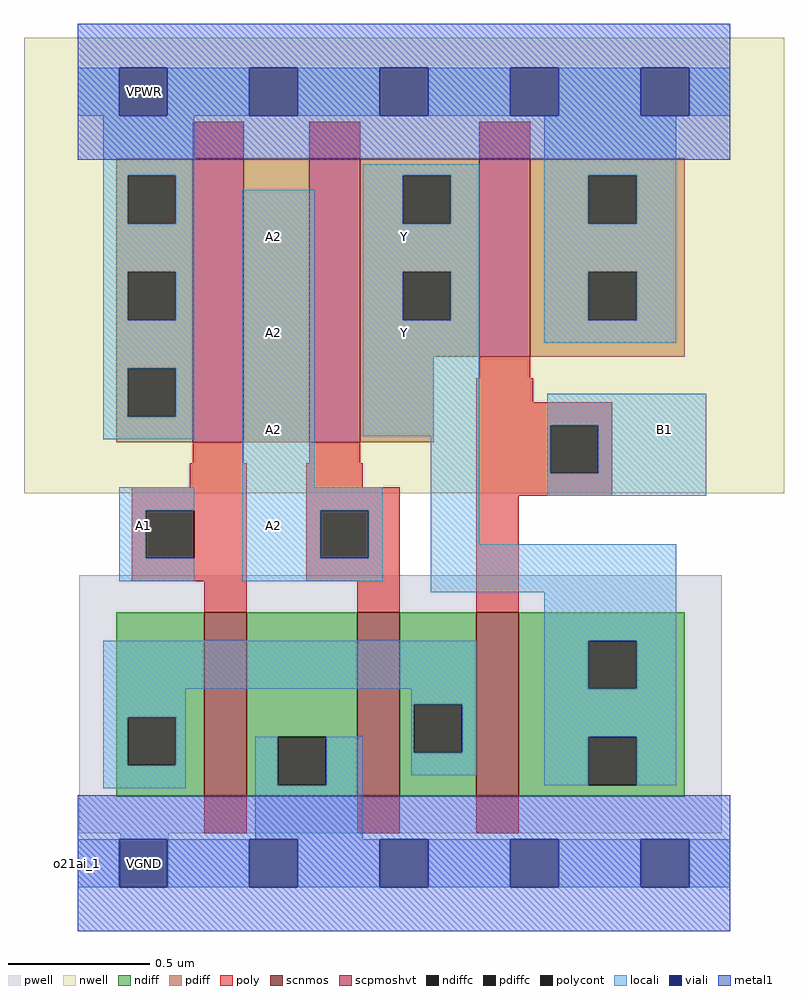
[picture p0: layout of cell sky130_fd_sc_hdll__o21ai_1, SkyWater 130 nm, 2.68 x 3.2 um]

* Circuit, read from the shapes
.subckt sky130_fd_sc_hdll__o21ai_1 A1 A2 B1 VGND VNB VPB VPWR Y
XM1 VGND A1 n1 VNB sky130_fd_pr__nfet_01v8 w=0.65 l=0.15
XM2 n1 A2 VGND VNB sky130_fd_pr__nfet_01v8 w=0.65 l=0.15
XM3 Y B1 n1 VNB sky130_fd_pr__nfet_01v8 w=0.65 l=0.15
XM4 n2 A1 VPWR VPB sky130_fd_pr__pfet_01v8_hvt w=1 l=0.18
XM5 Y A2 n2 VPB sky130_fd_pr__pfet_01v8_hvt w=1 l=0.18
XM6 VPWR B1 Y VPB sky130_fd_pr__pfet_01v8_hvt w=0.7 l=0.18
.ends

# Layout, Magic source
magic
tech sky130A
magscale 1 2
<< nwell >>
rect -38 261 498 582
<< pwell >>
rect 1 21 454 203
rect 30 -17 64 21
<< scnmos >>
rect 89 47 119 177
rect 197 47 227 177
rect 281 47 311 177
<< scpmoshvt >>
rect 81 297 117 497
rect 163 297 199 497
rect 283 357 319 497
<< ndiff >>
rect 27 103 89 177
rect 27 69 35 103
rect 69 69 89 103
rect 27 47 89 69
rect 119 89 197 177
rect 119 55 141 89
rect 175 55 197 89
rect 119 47 197 55
rect 227 112 281 177
rect 227 78 237 112
rect 271 78 281 112
rect 227 47 281 78
rect 311 157 428 177
rect 311 123 360 157
rect 394 123 428 157
rect 311 89 428 123
rect 311 55 360 89
rect 394 55 428 89
rect 311 47 428 55
<< pdiff >>
rect 27 485 81 497
rect 27 451 35 485
rect 69 451 81 485
rect 27 417 81 451
rect 27 383 35 417
rect 69 383 81 417
rect 27 349 81 383
rect 27 315 35 349
rect 69 315 81 349
rect 27 297 81 315
rect 117 297 163 497
rect 199 485 283 497
rect 199 451 229 485
rect 263 451 283 485
rect 199 417 283 451
rect 199 383 229 417
rect 263 383 283 417
rect 199 357 283 383
rect 319 485 428 497
rect 319 451 360 485
rect 394 451 428 485
rect 319 417 428 451
rect 319 383 360 417
rect 394 383 428 417
rect 319 357 428 383
rect 199 297 251 357
<< ndiffc >>
rect 35 69 69 103
rect 141 55 175 89
rect 237 78 271 112
rect 360 123 394 157
rect 360 55 394 89
<< pdiffc >>
rect 35 451 69 485
rect 35 383 69 417
rect 35 315 69 349
rect 229 451 263 485
rect 229 383 263 417
rect 360 451 394 485
rect 360 383 394 417
<< poly >>
rect 81 497 117 523
rect 163 497 199 523
rect 283 497 319 523
rect 283 342 319 357
rect 281 325 321 342
rect 281 309 377 325
rect 81 282 117 297
rect 163 282 199 297
rect 79 265 119 282
rect 38 249 119 265
rect 38 215 48 249
rect 82 215 119 249
rect 38 199 119 215
rect 161 265 201 282
rect 281 275 333 309
rect 367 275 377 309
rect 161 249 227 265
rect 161 215 171 249
rect 205 215 227 249
rect 161 199 227 215
rect 89 177 119 199
rect 197 177 227 199
rect 281 259 377 275
rect 281 177 311 259
rect 89 21 119 47
rect 197 21 227 47
rect 281 21 311 47
<< polycont >>
rect 48 215 82 249
rect 333 275 367 309
rect 171 215 205 249
<< locali >>
rect 0 527 29 561
rect 63 527 121 561
rect 155 527 213 561
rect 247 527 305 561
rect 339 527 397 561
rect 431 527 460 561
rect 18 485 82 527
rect 18 451 35 485
rect 69 451 82 485
rect 201 485 283 493
rect 18 417 82 451
rect 18 383 35 417
rect 69 383 82 417
rect 18 349 82 383
rect 18 315 35 349
rect 69 315 82 349
rect 18 299 82 315
rect 116 265 167 475
rect 201 451 229 485
rect 263 451 283 485
rect 201 417 283 451
rect 201 383 229 417
rect 263 383 283 417
rect 201 301 283 383
rect 329 485 422 527
rect 329 451 360 485
rect 394 451 422 485
rect 329 417 422 451
rect 329 383 360 417
rect 394 383 422 417
rect 329 367 422 383
rect 29 249 82 265
rect 29 215 48 249
rect 29 199 82 215
rect 116 249 215 265
rect 116 215 171 249
rect 205 215 215 249
rect 116 199 215 215
rect 249 225 283 301
rect 331 309 443 331
rect 331 275 333 309
rect 367 275 443 309
rect 331 259 443 275
rect 249 191 422 225
rect 329 157 422 191
rect 18 123 281 157
rect 18 103 76 123
rect 18 69 35 103
rect 69 69 76 103
rect 235 112 281 123
rect 18 53 76 69
rect 125 55 141 89
rect 175 55 201 89
rect 235 78 237 112
rect 271 78 281 112
rect 235 62 281 78
rect 329 123 360 157
rect 394 123 422 157
rect 329 89 422 123
rect 329 55 360 89
rect 394 55 422 89
rect 125 17 201 55
rect 0 -17 29 17
rect 63 -17 121 17
rect 155 -17 213 17
rect 247 -17 305 17
rect 339 -17 397 17
rect 431 -17 460 17
<< viali >>
rect 29 527 63 561
rect 121 527 155 561
rect 213 527 247 561
rect 305 527 339 561
rect 397 527 431 561
rect 29 -17 63 17
rect 121 -17 155 17
rect 213 -17 247 17
rect 305 -17 339 17
rect 397 -17 431 17
<< metal1 >>
rect 0 561 460 592
rect 0 527 29 561
rect 63 527 121 561
rect 155 527 213 561
rect 247 527 305 561
rect 339 527 397 561
rect 431 527 460 561
rect 0 496 460 527
rect 0 17 460 48
rect 0 -17 29 17
rect 63 -17 121 17
rect 155 -17 213 17
rect 247 -17 305 17
rect 339 -17 397 17
rect 431 -17 460 17
rect 0 -48 460 -17
<< labels >>
flabel metal1 s 30 -17 64 17 0 FreeSans 200 0 0 0 VGND
port 4 nsew ground bidirectional
flabel metal1 s 30 527 64 561 0 FreeSans 200 0 0 0 VPWR
port 7 nsew power bidirectional
flabel locali s 121 425 155 459 0 FreeSans 400 0 0 0 A2
port 2 nsew signal input
flabel locali s 121 357 155 391 0 FreeSans 400 0 0 0 A2
port 2 nsew signal input
flabel locali s 121 289 155 323 0 FreeSans 400 0 0 0 A2
port 2 nsew signal input
flabel locali s 29 221 63 255 0 FreeSans 400 0 0 0 A1
port 1 nsew signal input
flabel locali s 121 221 155 255 0 FreeSans 400 0 0 0 A2
port 2 nsew signal input
flabel locali s 397 289 431 323 0 FreeSans 400 0 0 0 B1
port 3 nsew signal input
flabel locali s 213 425 247 459 0 FreeSans 400 0 0 0 Y
port 8 nsew signal output
flabel locali s 213 357 247 391 0 FreeSans 400 0 0 0 Y
port 8 nsew signal output
flabel nwell s 30 527 64 561 0 FreeSans 200 0 0 0 VPB
port 6 nsew power bidirectional
flabel pwell s 30 -17 64 17 0 FreeSans 200 0 0 0 VNB
port 5 nsew ground bidirectional
rlabel comment s 0 0 0 0 4 o21ai_1
<< properties >>
string LEFsite unithd
string LEFclass CORE
string FIXED_BBOX 0 0 460 544
string GDS_FILE $PDKPATH/libs.ref/sky130_fd_sc_hdll/gds/sky130_fd_sc_hdll.gds
string LEFsymmetry X Y R90
string GDS_END 2414584
string GDS_START 2409610
string LEFproperties maskLayoutSubType "abstract" prCellType "standard" originalViewName "layout"
<< end >>
